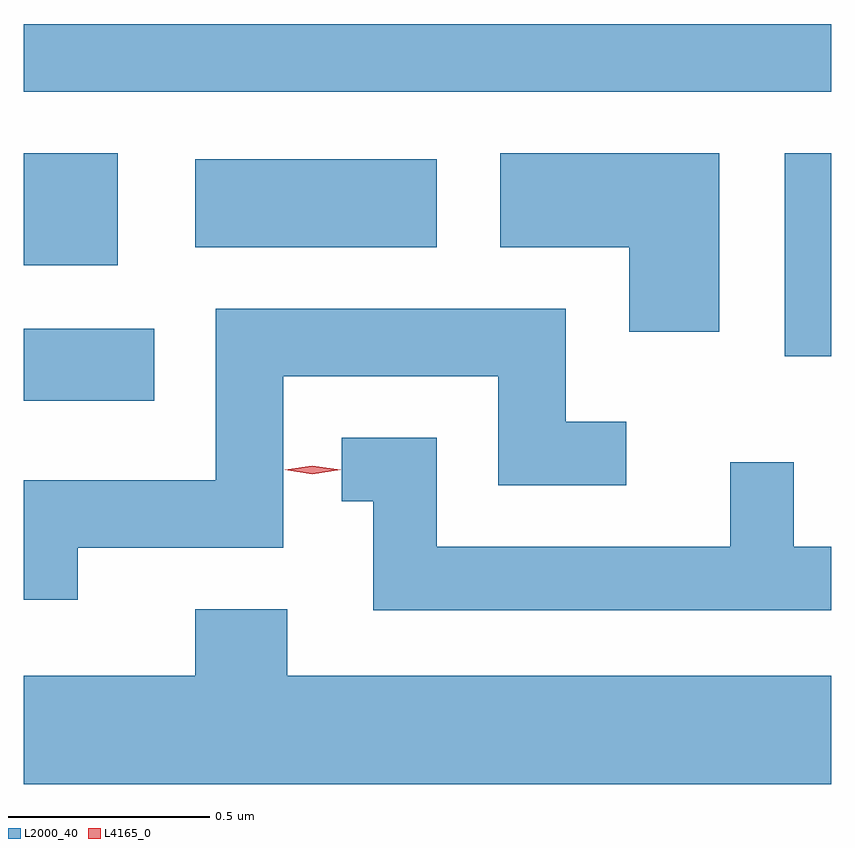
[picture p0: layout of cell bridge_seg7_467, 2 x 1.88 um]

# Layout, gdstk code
import gdstk
lib = gdstk.Library(unit=1e-6, precision=1e-09)
def R(c, l, rs):  # rectangles x0, y0, x1, y1
    for r in rs: c.add(gdstk.rectangle(r[:2], r[2:], *l))
def P(c, l, *ps):  # polygons
    for p in ps: c.add(gdstk.Polygon(p, *l))
L2000_40 = (2000, 40)
L4165_0 = (4165, 0)

bridge_seg7_467 = lib.new_cell('bridge_seg7_467')
R(bridge_seg7_467, L2000_40, [(1066.196,1679.746,1066.519,1679.924), (1068.081,1679.856,1068.196,1680.359), (1066.196,1680.081,1066.429,1680.359), (1066.621,1680.126,1067.219,1680.344), (1066.196,1680.511,1068.196,1680.679)])
P(bridge_seg7_467, L2000_40, [(1067.919,1680.359),(1067.376,1680.359),(1067.376,1680.126),(1067.696,1680.126),(1067.696,1679.916),(1067.919,1679.916)],
  [(1066.329,1679.381),(1066.839,1679.381),(1066.839,1679.806),(1067.371,1679.806),(1067.371,1679.536),(1067.688,1679.536),(1067.688,1679.694),(1067.539,1679.694),(1067.539,1679.974),(1066.671,1679.974),(1066.671,1679.549),(1066.196,1679.549),(1066.196,1679.253),(1066.329,1679.253)],
  [(1068.196,1679.384),(1068.104,1679.384),(1068.104,1679.593),(1067.946,1679.593),(1067.946,1679.384),(1067.219,1679.384),(1067.219,1679.654),(1066.983,1679.654),(1066.983,1679.496),(1067.061,1679.496),(1067.061,1679.226),(1068.196,1679.226)],
  [(1068.196,1679.064),(1066.849,1679.064),(1066.849,1679.229),(1066.621,1679.229),(1066.621,1679.064),(1066.196,1679.064),(1066.196,1678.796),(1068.196,1678.796)])
P(bridge_seg7_467, L4165_0, [(1066.911,1679.564),(1066.842,1679.574),(1066.842,1679.574),(1066.842,1679.575),(1066.911,1679.584),(1066.981,1679.575),(1066.981,1679.574),(1066.981,1679.574)])

lib.write_gds('bridge_seg7_467.gds')
